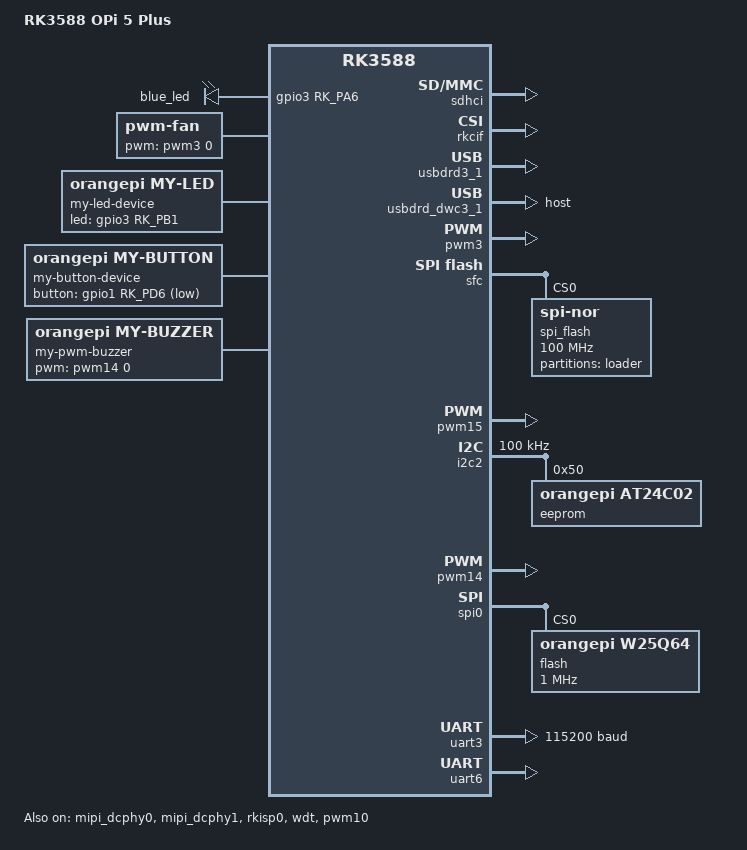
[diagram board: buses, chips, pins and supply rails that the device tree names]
// SPDX-License-Identifier: (GPL-2.0+ OR MIT)
/*
 * Copyright (c) 2021 Rockchip Electronics Co., Ltd.
 *
 */

/dts-v1/;

#include "rk3588-orangepi-5-plus.dtsi"
#include "rk3588-linux.dtsi"
#include "rk3588-orangepi-5-plus-lcd.dtsi"
#include "rk3588-orangepi-5-plus-camera1.dtsi"

/ {
	model = "RK3588 OPi 5 Plus";
	compatible = "rockchip,rk3588-orangepi-5-plus", "rockchip,rk3588";

	leds: gpio-leds {
		compatible = "gpio-leds";
		pinctrl-names = "default";
		pinctrl-0 =<&leds_rgb>;
		status = "okay";

		blue_led@1 {
			gpios = <&gpio3 RK_PA6 GPIO_ACTIVE_HIGH>;
			label = "blue_led";
			linux,default-trigger = "heartbeat";
			linux,default-trigger-delay-ms = <0>;
		};
		
	};

	fan: pwm-fan {
		compatible = "pwm-fan";
		#cooling-cells = <2>;
		pwms = <&pwm3 0 50000 0>;
		cooling-levels = <0 50 100 150 200 255>;
		rockchip,temp-trips = <
			50000   1
			55000   2
			60000   3
			65000   4
			70000   5
		>;

		status = "okay";
	};

	my-platform-device {
		compatible = "orangepi,my-platform-device";
		device-name = "virtual-device";
		buffer-size = <128>;
		status = "okay";
	};

	my-led-device {
		compatible = "orangepi,my-led";
		device-name = "my-led";
		pinctrl-names = "default";
		pinctrl-0 = <&my_led_pin>;

		led-gpios = <&gpio3 RK_PB1 GPIO_ACTIVE_HIGH>;

		status = "okay";
	};

	my-button-device {
		compatible = "orangepi,my-button";
		device-name = "my-button";
		pinctrl-names = "default";
		pinctrl-0 = <&my_button_pin>;

		button-gpios = <&gpio1 RK_PD6 GPIO_ACTIVE_LOW>;
		status = "okay";
	};

	my-pwm-buzzer {
		compatible = "orangepi,my-buzzer";
		pwms = <&pwm14 0 500000 PWM_POLARITY_INVERTED>;
		pwm-names = "buzzer";
		device-name = "my-buzzer";
		status = "okay";
	};

	my-dma-test {
		compatible = "orangepi,my-dma-test";
		status = "okay";
	};
};

&sdhci {
	status = "okay";
};

&mipi_dcphy0 {
	status = "okay";
};

&mipi_dcphy1 {
	status = "okay";
};

&rkcif {
        status = "okay";
};

&rkcif_mmu {
        status = "okay";
};

&rkisp0 {
        status = "okay";
};

&isp0_mmu {
        status = "okay";
};

&usbdrd3_1 {
	status = "okay";
};

&usbdrd_dwc3_1 {
	dr_mode = "host";
	status = "okay";
};

/* Fan */
&pwm3 {
	status = "okay";
	pinctrl-names = "active";
	pinctrl-0 = <&pwm3m1_pins>;
};

/* watchdog */
&wdt {
	status = "okay";
};

&sfc {
	status = "okay";
	max-freq = <100000000>;
	#address-cells = <1>;
	#size-cells = <0>;
	pinctrl-names = "default";
	pinctrl-0 = <&fspim1_pins>;

	spi_flash: spi-flash@0 {
		#address-cells = <1>;
		#size-cells = <0>;
		compatible = "jedec,spi-nor";
		reg = <0x0>;
		spi-max-frequency = <100000000>;
		spi-tx-bus-width = <1>;
		spi-rx-bus-width = <4>;
		status = "okay";

		partitions {
			compatible = "fixed-partitions";
			#address-cells = <1>;
			#size-cells = <1>;

			loader@0 {
				label = "loader";
				reg = <0x0 0x1000000>;
			};
		};
	};
};

&pwm15 {
	compatible = "rockchip,remotectl-pwm";
	pinctrl-names = "default";
	pinctrl-0 = <&pwm15m1_pins>;
	remote_pwm_id = <3>;
	handle_cpu_id = <1>;
	remote_support_psci = <0>;
	status = "okay";

	ir_key1 {
		rockchip,usercode = <0xfb04>;
		rockchip,key_table =
			<0xa3   KEY_ENTER>,
			<0xe4   388>,
			<0xf5   KEY_BACK>,
			<0xbb   KEY_UP>,
			<0xe2   KEY_DOWN>,
			<0xe3   KEY_LEFT>,
			<0xb7   KEY_RIGHT>,
			<0xe0   KEY_HOME>,
			<0xba   KEY_VOLUMEUP>,
			<0xda   KEY_VOLUMEUP>,
			<0xe6   KEY_VOLUMEDOWN>,
			<0xdb   KEY_VOLUMEDOWN>,
			<0xbc   KEY_SEARCH>,
			<0xb2   KEY_POWER>,
			<0xe5   KEY_POWER>,
			<0xde   KEY_POWER>,
			<0xdc   KEY_MUTE>,
			<0xa2   KEY_MENU>,
			<0xec   KEY_1>,
			<0xef   KEY_2>,
			<0xee   KEY_3>,
			<0xf0   KEY_4>,
			<0xf3   KEY_5>,
			<0xf2   KEY_6>,
			<0xf4   KEY_7>,
			<0xf7   KEY_8>,
			<0xf6   KEY_9>,
			<0xb8   KEY_0>;
	};
};

&pinctrl {
	leds_gpio {
		leds_rgb: leds-rgb {
		        rockchip,pins = <3 RK_PA6 RK_FUNC_GPIO &pcfg_pull_up>;
		};
	};

	my_led_gpio {
		my_led_pin: my-led-pin {
				rockchip,pins = <3 RK_PB1 RK_FUNC_GPIO &pcfg_pull_down>;
		};
	};

	my_button_gpio {
		my_button_pin: my-button-pin {
				rockchip,pins = <1 RK_PD6 RK_FUNC_GPIO &pcfg_pull_up>;
		};
	};
};

/*** 40 pins ***/
&i2c2 {
	status = "okay";

	pinctrl-names = "default";
	pinctrl-0 = <&i2c2m0_xfer>;

	clock-frequency = <100000>;

	eeprom@50 {
		compatible = "orangepi,at24c02";
		reg = <0x50>;
		status = "okay";
		device-name = "at24c02";
	};
};

&can0 {
	status = "disabled";
	pinctrl-names = "default";
	pinctrl-0 = <&can0m0_pins>;
	assigned-clocks = <&cru CLK_CAN0>;
	assigned-clock-rates = <200000000>;
};

&can1 {
	status = "disabled";
	pinctrl-names = "default";
	pinctrl-0 = <&can1m0_pins>;
	assigned-clocks = <&cru CLK_CAN1>;
	assigned-clock-rates = <200000000>;
};

&pwm0 {
	status = "disabled";
};

&pwm1 {
	status = "disabled";
};

&pwm14 {
	status = "okay";

	pinctrl-names = "active";
    pinctrl-0 = <&pwm14m0_pins>;
};

&spi0 {
	status = "okay";

	pinctrl-names = "default";
	pinctrl-0 = <&spi0m2_pins &spi0m2_cs0>;

	assigned-clocks = <&cru CLK_SPI0>;
	assigned-clock-rates = <200000000>;

	num-cs = <1>;

	flash@0 {
		compatible = "orangepi,w25q64";
		reg = <0>;
		spi-max-frequency = <1000000>;
		status = "okay";
		device-name = "w25q64";
	};
};

&uart3 {
	/* Dedicated UART controller for the custom OTA transport driver. */
	compatible = "orangepi,ota-uart";
	pinctrl-names = "default";
	pinctrl-0 = <&uart3m1_xfer>;
	current-speed = <115200>;
	status = "okay";
};

&uart4 {
	status = "disabled";
	pinctrl-names = "default";
	pinctrl-0 = <&uart4m2_xfer>;
};

&i2c4 {
	status = "disabled";
	pinctrl-names = "default";
	pinctrl-0 = <&i2c4m3_xfer>;
};

&i2c5 {
	status = "disabled";
	pinctrl-names = "default";
	pinctrl-0 = <&i2c5m3_xfer>;
};

&i2c8 {
	status = "disabled";
	pinctrl-names = "default";
	pinctrl-0 = <&i2c8m2_xfer>;
};

&uart1 {
	status = "disabled";
	pinctrl-names = "default";
	pinctrl-0 = <&uart1m1_xfer>;
};

&uart6 {
	status = "okay";
	pinctrl-names = "default";
	pinctrl-0 = <&uart6m1_xfer>;
};

&uart7 {
	status = "disabled";
	pinctrl-names = "default";
	pinctrl-0 = <&uart7m2_xfer>;
};

&uart8 {
	status = "disabled";
	pinctrl-names = "default";
	pinctrl-0 = <&uart8m1_xfer>;
};

&pwm10 {
	status = "okay";
	compatible = "orangepi,my-clock-power-test";

	pinctrl-names = "active";
	pinctrl-0 = <&pwm10m0_pins>;

	resets = <&cru SRST_PWM2>;
	reset-names = "pwm";

	lab-supply = <&vcc_3v3_s0>;
};

&pwm11 {
	status = "disabled";
	pinctrl-names = "active";
	pinctrl-0 = <&pwm11m0_pins>;
};

&pwm12 {
	status = "disabled";
	pinctrl-names = "active";
	pinctrl-0 = <&pwm12m0_pins>;
};

&pwm13 {
	status = "disabled";
	pinctrl-names = "active";
	pinctrl-0 = <&pwm13m2_pins>;
	//pinctrl-0 = <&pwm13m0_pins>;
};

&spi4 {
	status = "disabled";
	assigned-clocks = <&cru CLK_SPI4>;
	assigned-clock-rates = <200000000>;
	num-cs = <2>;
};
/*** 40 pins ***/

&hdmirx_ctrler {
	status = "disabled";
};
